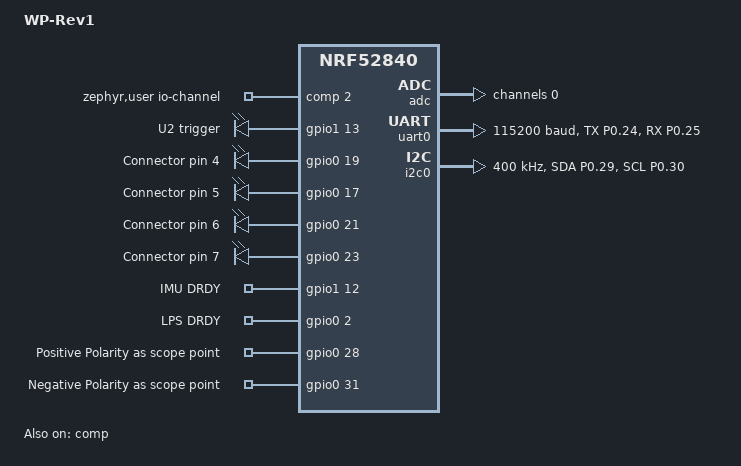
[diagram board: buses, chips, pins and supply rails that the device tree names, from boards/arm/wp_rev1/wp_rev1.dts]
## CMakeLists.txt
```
cmake_minimum_required(VERSION 3.20.0)
find_package(Zephyr REQUIRED HINTS $ENV{ZEPHYR_BASE})

project(version_2)

set(BOARD_ROOT ${CMAKE_CURRENT_SOURCE_DIR} CACHE PATH "" FORCE)

target_include_directories(app PRIVATE ${CMAKE_CURRENT_SOURCE_DIR}/components)
add_subdirectory(components/device_config)
add_subdirectory(components/i2c_sensors)
add_subdirectory(components/fram)
add_subdirectory(components/config_commands)
add_subdirectory(components/accel)
add_subdirectory(components/encrypt)
add_subdirectory(components/error_output)
add_subdirectory(components/gpio)

target_include_directories(app PRIVATE ${CMAKE_CURRENT_SOURCE_DIR}/main/include)
target_sources(app PRIVATE main/main.c)
target_sources(app PRIVATE main/src/comparator.c)
target_sources(app PRIVATE main/src/app_encrypt.c)
target_sources(app PRIVATE main/src/app_manuf_data.c)
target_sources(app PRIVATE main/src/app_sensors.c)
target_sources(app PRIVATE main/src/app_bt.c)
target_sources(app PRIVATE main/src/app_burn_energy.c)
target_sources(app PRIVATE main/src/app_cli.c)
target_sources(app PRIVATE main/src/app_tests.c)
```

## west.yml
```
manifest:
  remotes:
    - name: nordic
      url-base: https://github.com/nrfconnect
  projects:
    - name: sdk-nrf
      path: nrf
      remote: nordic
      revision: 0677b0991e4c3ea58efd14e9e33b6c29a1919113
      import: true
  self:
    path: WePower_BLE_Beacon
```

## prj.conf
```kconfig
CONFIG_SYSTEM_WORKQUEUE_STACK_SIZE=5120
CONFIG_BT=y
CONFIG_BT_EXT_ADV=y
CONFIG_BT_PER_ADV=y
CONFIG_BT_CTLR_PHY_CODED=y
CONFIG_BT_USER_DATA_LEN_UPDATE=y
CONFIG_BT_USER_PHY_UPDATE=y
#CONFIG_BT_USER_PHY_UPDATE=y
CONFIG_BT_HCI=y
CONFIG_BT_CTLR=y
CONFIG_BT_CTLR_TX_PWR_PLUS_8=y
CONFIG_BT_DEBUG_LOG=n
CONFIG_KERNEL_BIN_NAME="WePower_BLE_BEACON"
CONFIG_BT_DEVICE_NAME="WePower"
CONFIG_BT_PERIPHERAL=y
CONFIG_CLOCK_CONTROL_NRF_K32SRC_RC=y
CONFIG_CLOCK_CONTROL_NRF_K32SRC_250PPM=y
CONFIG_CLOCK_CONTROL_NRF_K32SRC_XTAL=n
#CONFIG_BOARD_ENABLE_DCDC=y
# From Nordic to disable Crypto RNG
CONFIG_HW_CC3XX=n
CONFIG_ENTROPY_CC3XX=n
CONFIG_ENTROPY_NRF5_RNG=y
CONFIG_CC3XX_BACKEND=n
# Software Crypto with Mbed
CONFIG_MBEDTLS=y
CONFIG_MBEDTLS_BUILTIN=y
CONFIG_MBEDTLS_HEAP_SIZE=512
CONFIG_MBEDTLS_CIPHER_CCM_ENABLED=y
CONFIG_MBEDTLS_CIPHER_GCM_ENABLED=y
CONFIG_CRYPTO=y
CONFIG_CRYPTO_MBEDTLS_SHIM=y
# GPIO
CONFIG_GPIO=y
# ADC
CONFIG_ADC=y
#COMP
CONFIG_NRFX_COMP=y
# I2C
CONFIG_I2C=y
CONFIG_I2C_NRFX=y
CONFIG_NRFX_TWIM0=y
CONFIG_SENSOR=n
CONFIG_CBPRINTF_FP_SUPPORT=n

#LOGS
CONFIG_LOG=y
CONFIG_LOG_MODE_MINIMAL=y
CONFIG_LOG_DEFAULT_LEVEL=0
CONFIG_SERIAL=y
CONFIG_UART_INTERRUPT_DRIVEN=y
CONFIG_CONSOLE=y
CONFIG_PRINTK=y
CONFIG_UART_CONSOLE=y
CONFIG_USE_SEGGER_RTT=y
CONFIG_RTT_CONSOLE=y
CONFIG_BOOTLOADER_MCUBOOT=n

#Shell
CONFIG_SHELL=y
CONFIG_DEVICE_SHELL=y

# Enable bonding
CONFIG_BT_SMP=y
CONFIG_BT_MAX_PAIRED=1
CONFIG_BT_BONDABLE=y
# CONFIG_BT_SETTINGS=y
# CONFIG_FLASH=y
# CONFIG_FLASH_PAGE_LAYOUT=y
# CONFIG_FLASH_MAP=y
CONFIG_NVS=y
CONFIG_SETTINGS=y

CONFIG_BT_L2CAP_TX_BUF_COUNT=15

CONFIG_BT_CTLR_DATA_LENGTH_MAX=251

# Over-ride various BT settings for extended data packet size
CONFIG_BT_ATT_PREPARE_COUNT=10
CONFIG_BT_L2CAP_TX_FRAG_COUNT=15
CONFIG_BT_BUF_EVT_RX_SIZE=251
CONFIG_BT_BUF_CMD_TX_SIZE=251
CONFIG_BT_BUF_CMD_TX_COUNT=10

CONFIG_BT_L2CAP_TX_MTU=2000
CONFIG_BT_L2CAP_DYNAMIC_CHANNEL=y

CONFIG_BT_CTLR_PHY_2M=y
CONFIG_BT_CTLR_SDC_MAX_CONN_EVENT_LEN_DEFAULT=4000000

CONFIG_BT_BUF_ACL_RX_SIZE=4000
CONFIG_BT_BUF_ACL_TX_SIZE=4000

CONFIG_BT_BUF_ACL_TX_COUNT=10

CONFIG_BT_PERIPHERAL_PREF_MAX_INT=100
CONFIG_BT_PERIPHERAL_PREF_MIN_INT=100
CONFIG_BT_PERIPHERAL_PREF_TIMEOUT=3000
```

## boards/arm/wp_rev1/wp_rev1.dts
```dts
// Copyright (c) 2022 Nordic Semiconductor ASA
// SPDX-License-Identifier: Apache-2.0

/dts-v1/;
#include <nordic/nrf52840_qiaa.dtsi>

/ {
	model = "WP-Rev1";
	compatible = "nordic,wepower,wp-rev1";

	chosen {
        zephyr,console = &uart0;
		zephyr,shell-uart = &uart0;
		//zephyr,uart-mcumgr = &uart0;
		//zephyr,bt-mon-uart = &uart0;
		//zephyr,bt-c2h-uart = &uart0;
		zephyr,sram = &sram0;
		zephyr,flash = &flash0;
		zephyr,code-partition = &slot0_partition;
        zephyr,entropy = &rng;
        zephyr,i2c = &i2c0;
		nrf,gpio0 = &gpio0;
		nrf,gpio1 = &gpio1;
		nrf,gpiote = &gpiote;
		nrf,comp = &comp;
	};

	zephyr,user {
		io-channels =  <&comp 2>;
	};
};



&pinctrl {
	uart0_default: uart0_default {
		group1 {
			psels = <NRF_PSEL(UART_TX, 0, 24)>, <NRF_PSEL(UART_RX, 0, 25)>;
		};
	};

	uart0_sleep: uart0_sleep {
		group1 {
			psels = <NRF_PSEL(UART_TX, 0, 24)>, <NRF_PSEL(UART_RX, 0, 25)>;
			//low-power-enable;
		};
	};

	i2c0_default: i2c0_default {
		group1 {
            psels = <NRF_PSEL(TWIM_SDA, 0, 29)>, <NRF_PSEL(TWIM_SCL, 0, 30)>;
		};
	};

	i2c0_sleep: i2c0_sleep {
		group1 {
            psels = <NRF_PSEL(TWIM_SDA, 0, 29)>, <NRF_PSEL(TWIM_SCL, 0, 30)>;
		};
	};
};

&flash0 {
	partitions {
		compatible = "fixed-partitions";
		#address-cells = <1>;
		#size-cells = <1>;

		boot_partition: partition@0 {
			label = "mcuboot";
			reg = <0x00000000 0x0000C000>;
		};
		slot0_partition: partition@c000 {
			label = "image-0";
			reg = <0x0000C000 0x00067000>;
		};
		slot1_partition: partition@73000 {
			label = "image-1";
			reg = <0x00073000 0x00067000>;
		};
		scratch_partition: partition@da000 {
			label = "image-scratch";
			reg = <0x000da000 0x0001e000>;
		};

		/*
		 * The flash starting at 0x000f8000 and ending at
		 * 0x000fffff is reserved for use by the application.
		 */

		/*
		 * Storage partition will be used by FCB/LittleFS/NVS
		 * if enabled.
		 */
		storage_partition: partition@f8000 {
			label = "storage";
			reg = <0x000f8000 0x00008000>;
		};
	};
};

&adc {
	status = "okay";
	#address-cells = <1>;
	#size-cells = <0>;

	channel@0 {
		reg = <0>;
		zephyr,gain = "ADC_GAIN_1_6";
		zephyr,reference = "ADC_REF_INTERNAL";
		zephyr,acquisition-time = <ADC_ACQ_TIME_DEFAULT>;
		zephyr,input-positive = <NRF_SAADC_AIN1>; /* P0.03 */
		zephyr,resolution = <12>;
	};
};

&comp {
	status = "okay";
};

&gpiote {
	status = "okay";
};

&gpio0 {
	status = "okay";
};

&gpio1 {
	status = "okay";
};

&uart0 {
	compatible = "nordic,nrf-uarte";
	status = "okay";
	current-speed = <115200>;
	pinctrl-0 = <&uart0_default>;
	pinctrl-1 = <&uart0_sleep>;
	pinctrl-names = "default", "sleep";
};

&i2c0 {
	compatible = "nordic,nrf-twim";
	status = "okay";
    clock-frequency = <I2C_BITRATE_FAST>;
	pinctrl-0 = <&i2c0_default>;
	pinctrl-1 = <&i2c0_sleep>;
	pinctrl-names = "default", "sleep";
	zephyr,concat-buf-size = <32>;	
};

/{

	gpio_output {
		compatible = "gpio-leds";
		lis_trig: lis_trigger_pin {
			gpios = <&gpio1 13 0x00>;
			label = "U2 trigger";
		};
		connector4: connector_4_pin {
			gpios = <&gpio0 19 0x00>;
			label = "Connector pin 4";
		};
		connector5: connector_5_pin {
			gpios = <&gpio0 17 0x00>;
			label = "Connector pin 5";
		};
		connector6: connector_6_pin {
			gpios = <&gpio0 21 0x00>;
			label = "Connector pin 6";
		};
		connector7: connector_7_pin {
			gpios = <&gpio0 23 0x00>;
			label = "Connector pin 7";
		};
	};

	gpio_input {
		compatible = "gpio-keys";
		imu_drdy: imu_drdy_pin {
			gpios = <&gpio1 12 0x0>;
			label = "IMU DRDY";
		};
		lps_drdy: lps_drdy_pin {
			gpios = <&gpio0 2 GPIO_OPEN_DRAIN>;
			label = "LPS DRDY";
		};
		polarity_p: polarity_p_pin {
			gpios = <&gpio0 28 GPIO_OPEN_DRAIN>;
			label = "Positive Polarity as scope point";
		};
		polarity_n: polarity_n_pin {
			gpios = <&gpio0 31 GPIO_OPEN_DRAIN>;
			label = "Negative Polarity as scope point";
		};
	};
};
```

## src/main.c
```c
#include <zephyr/kernel.h>
#include <nrfx_comp.h>
#include <hal/nrf_gpio.h>

#define TEST_AIN_CHANNEL_FOR_COMP 1 // p0.03
#define TEST_PIN_OUTPUT 23

#define DELAY_MS        500

uint32_t temp_comp_buffer = 0;

int main(void)
{
        nrfx_comp_config_t  comp_config = NRFX_COMP_DEFAULT_CONFIG(TEST_AIN_CHANNEL_FOR_COMP);
        // comp_config.reference = NRF_COMP_REF_Int1V2; 
        comp_config.main_mode = COMP_MODE_MAIN_Diff;
        comp_config.ext_ref = NRF_COMP_EXT_REF_3;
        comp_config.speed_mode = COMP_MODE_SP_Low;
        nrfx_comp_init(&comp_config, NULL);

        nrf_gpio_cfg_output(TEST_PIN_OUTPUT);

	nrfx_comp_start(0,  0);

        (void)nrfx_comp_sample();

        while (1)
        {
                
                

                temp_comp_buffer = nrfx_comp_sample();

                if (temp_comp_buffer)
                {
                        printk("\r Its gone High Again \n");
                }
                
                nrf_gpio_pin_write(TEST_PIN_OUTPUT, temp_comp_buffer);

                k_usleep(10);
        }
        
        return 0;
}
```
